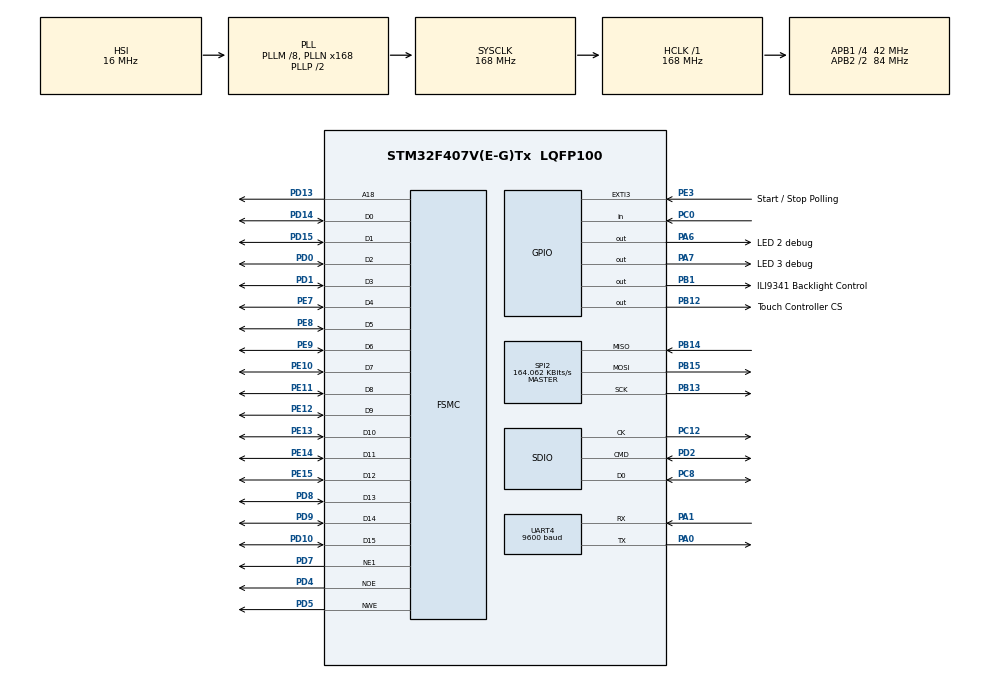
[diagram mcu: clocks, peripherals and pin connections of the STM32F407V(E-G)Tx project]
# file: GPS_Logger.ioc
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Dma.Request0=SDIO_TX
Dma.Request1=SDIO_RX
Dma.SDIO_RX.1.Direction=DMA_PERIPH_TO_MEMORY
Dma.SDIO_RX.1.FIFOMode=DMA_FIFOMODE_ENABLE
Dma.SDIO_RX.1.FIFOThreshold=DMA_FIFO_THRESHOLD_FULL
Dma.SDIO_RX.1.Instance=DMA2_Stream6
Dma.SDIO_RX.1.MemBurst=DMA_MBURST_INC4
Dma.SDIO_RX.1.MemDataAlignment=DMA_MDATAALIGN_WORD
Dma.SDIO_RX.1.MemInc=DMA_MINC_ENABLE
Dma.SDIO_RX.1.Mode=DMA_PFCTRL
Dma.SDIO_RX.1.PeriphBurst=DMA_PBURST_INC4
Dma.SDIO_RX.1.PeriphDataAlignment=DMA_PDATAALIGN_WORD
Dma.SDIO_RX.1.PeriphInc=DMA_PINC_DISABLE
Dma.SDIO_RX.1.Priority=DMA_PRIORITY_HIGH
Dma.SDIO_TX.0.Direction=DMA_MEMORY_TO_PERIPH
Dma.SDIO_TX.0.FIFOMode=DMA_FIFOMODE_ENABLE
Dma.SDIO_TX.0.FIFOThreshold=DMA_FIFO_THRESHOLD_FULL
Dma.SDIO_TX.0.Instance=DMA2_Stream3
Dma.SDIO_TX.0.MemBurst=DMA_MBURST_INC4
Dma.SDIO_TX.0.MemDataAlignment=DMA_MDATAALIGN_WORD
Dma.SDIO_TX.0.MemInc=DMA_MINC_ENABLE
Dma.SDIO_TX.0.Mode=DMA_PFCTRL
Dma.SDIO_TX.0.PeriphBurst=DMA_PBURST_INC4
Dma.SDIO_TX.0.PeriphDataAlignment=DMA_PDATAALIGN_WORD
Dma.SDIO_TX.0.PeriphInc=DMA_PINC_DISABLE
Dma.SDIO_TX.0.Priority=DMA_PRIORITY_HIGH
FATFS.BSP.number=1
FATFS.USE_DMA_CODE_SD=0
FATFS._MAX_SS=512
FATFS0.BSP.STBoard=false
FATFS0.BSP.api=Unknown
FATFS0.BSP.instance=PC0
FATFS0.BSP.ip=GPIO
FATFS0.BSP.mode=Input
FATFS0.BSP.name=Detect_SDIO
FATFS0.BSP.solution=PC0
Mcu.Family=STM32F4
Mcu.Name=STM32F407V(E-G)Tx
Mcu.Package=LQFP100
NVIC.DMA2_Stream3_IRQn=true\:0\:0\:false\:false\:true\:false\:true\:true
NVIC.DMA2_Stream6_IRQn=true\:0\:0\:false\:false\:true\:false\:true\:true
NVIC.EXTI3_IRQn=true\:0\:0\:true\:false\:true\:true\:true\:true
NVIC.PriorityGroup=NVIC_PRIORITYGROUP_4
NVIC.SDIO_IRQn=true\:0\:0\:false\:false\:true\:true\:true\:true
NVIC.SPI2_IRQn=true\:0\:0\:false\:false\:true\:true\:true\:true
NVIC.UART4_IRQn=true\:0\:0\:false\:false\:true\:true\:true\:true
PA0-WKUP.Mode=Asynchronous
PA0-WKUP.Signal=UART4_TX
PA1.Mode=Asynchronous
PA1.Signal=UART4_RX
PA6.GPIO_Label=LED 2 debug
PA6.Signal=GPIO_Output
PA7.GPIO_Label=LED 3 debug
PA7.Signal=GPIO_Output
PB1.GPIO_Label=ILI9341 Backlight Control
PB1.Signal=GPIO_Output
PB12.GPIO_Label=Touch Controller CS
PB12.GPIO_Speed=GPIO_SPEED_FREQ_VERY_HIGH
PB12.Signal=GPIO_Output
PB13.Mode=Full_Duplex_Master
PB13.Signal=SPI2_SCK
PB14.Mode=Full_Duplex_Master
PB14.Signal=SPI2_MISO
PB15.Mode=Full_Duplex_Master
PB15.Signal=SPI2_MOSI
PC0.GPIO_PuPd=GPIO_PULLDOWN
PC0.Signal=GPIO_Input
PC12.GPIO_PuPd=GPIO_NOPULL
PC12.Mode=SD_1_bit
PC12.Signal=SDIO_CK
PC8.GPIO_PuPd=GPIO_PULLUP
PC8.Mode=SD_1_bit
PC8.Signal=SDIO_D0
PD0.Mode=16b-d1
PD0.Signal=FSMC_D2
PD1.Mode=16b-d1
PD1.Signal=FSMC_D3
PD10.Mode=16b-d1
PD10.Signal=FSMC_D15
PD13.Mode=A18_1
PD13.Signal=FSMC_A18
PD14.Mode=16b-d1
PD14.Signal=FSMC_D0
PD15.Mode=16b-d1
PD15.Signal=FSMC_D1
PD2.GPIO_PuPd=GPIO_PULLUP
PD2.Mode=SD_1_bit
PD2.Signal=SDIO_CMD
PD4.Mode=Lcd1
PD4.Signal=FSMC_NOE
PD5.Mode=Lcd1
PD5.Signal=FSMC_NWE
PD7.Mode=NorPsramChipSelect1_1
PD7.Signal=FSMC_NE1
PD8.Mode=16b-d1
PD8.Signal=FSMC_D13
PD9.Mode=16b-d1
PD9.Signal=FSMC_D14
PE10.Mode=16b-d1
PE10.Signal=FSMC_D7
PE11.Mode=16b-d1
PE11.Signal=FSMC_D8
PE12.Mode=16b-d1
PE12.Signal=FSMC_D9
PE13.Mode=16b-d1
PE13.Signal=FSMC_D10
PE14.Mode=16b-d1
PE14.Signal=FSMC_D11
PE15.Mode=16b-d1
PE15.Signal=FSMC_D12
PE3.GPIO_Label=Start / Stop Polling
PE3.GPIO_ModeDefaultEXTI=GPIO_MODE_IT_FALLING
PE3.GPIO_PuPd=GPIO_PULLUP
PE3.Signal=GPXTI3
PE7.Mode=16b-d1
PE7.Signal=FSMC_D4
PE8.Mode=16b-d1
PE8.Signal=FSMC_D5
PE9.Mode=16b-d1
PE9.Signal=FSMC_D6
ProjectManager.HeapSize=0x400
ProjectManager.StackSize=0x400
ProjectManager.TargetToolchain=STM32CubeIDE
RCC.48MHZClocksFreq_Value=48000000
RCC.AHBFreq_Value=168000000
RCC.APB1CLKDivider=RCC_HCLK_DIV4
RCC.APB1Freq_Value=42000000
RCC.APB1TimFreq_Value=84000000
RCC.APB2CLKDivider=RCC_HCLK_DIV2
RCC.APB2Freq_Value=84000000
RCC.APB2TimFreq_Value=168000000
RCC.CortexFreq_Value=168000000
RCC.HCLKFreq_Value=168000000
RCC.HSE_VALUE=8000000
RCC.HSI_VALUE=16000000
RCC.LSE_VALUE=32768
RCC.PLLM=8
RCC.PLLN=168
RCC.PLLQ=7
RCC.SYSCLKFreq_VALUE=168000000
RCC.SYSCLKSource=RCC_SYSCLKSOURCE_PLLCLK
RCC.VCOOutputFreq_Value=336000000
SDIO.ClockDiv=22
SPI2.BaudRatePrescaler=SPI_BAUDRATEPRESCALER_256
SPI2.CalculateBaudRate=164.062 KBits/s
SPI2.Direction=SPI_DIRECTION_2LINES
SPI2.Mode=SPI_MODE_MASTER
SPI2.VirtualType=VM_MASTER
UART4.BaudRate=9600
UART4.VirtualMode=Asynchronous
VP_FATFS_VS_SDIO.Mode=SDIO
board=custom

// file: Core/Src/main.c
/* USER CODE BEGIN Header */
/**
  ******************************************************************************
  * @file           : main.c
  * @brief          : Main program body
  ******************************************************************************
  * @attention
  *
  * Copyright (c) 2022 STMicroelectronics.
  * All rights reserved.
  *
  * This software is licensed under terms that can be found in the LICENSE file
  * in the root directory of this software component.
  * If no LICENSE file comes with this software, it is provided AS-IS.
  *
  ******************************************************************************
  */
/* USER CODE END Header */
#include "main.h"
#include "fatfs.h"

/* USER CODE BEGIN Includes */
#include "NEO_6M.h"
#include "Logging.h"
/* USER CODE END Includes */

/* USER CODE BEGIN PTD */
typedef enum
{
	Wait,
	Work
} SystemStatus;
/* USER CODE END PTD */

SD_HandleTypeDef hsd;
DMA_HandleTypeDef hdma_sdio_tx;
DMA_HandleTypeDef hdma_sdio_rx;

SPI_HandleTypeDef hspi2;

UART_HandleTypeDef huart4;

SRAM_HandleTypeDef hsram1;

/* USER CODE BEGIN PV */
SystemStatus CurrentSystemStatus = Wait;

uint8_t ButtonIsPressed = 0;
/* USER CODE END PV */

void SystemClock_Config(void);
static void MX_GPIO_Init(void);
static void MX_DMA_Init(void);
static void MX_FSMC_Init(void);
static void MX_SPI2_Init(void);
static void MX_UART4_Init(void);
static void MX_SDIO_SD_Init(void);

/* USER CODE BEGIN 0 */

void HAL_GPIO_EXTI_Callback(uint16_t GPIO_Pin)
{
	if (GPIO_Pin == GPIO_PIN_3)
	{
		ButtonIsPressed = 1;
	}
}
/* USER CODE END 0 */

int main(void)
{

  /* MCU Configuration--------------------------------------------------------*/

  /* Reset of all peripherals, Initializes the Flash interface and the Systick. */
  HAL_Init();

  /* Configure the system clock */
  SystemClock_Config();

  /* Initialize all configured peripherals */
  MX_GPIO_Init();
  MX_DMA_Init();
  MX_FSMC_Init();
  MX_SPI2_Init();
  MX_UART4_Init();
  MX_SDIO_SD_Init();
  MX_FATFS_Init();
  /* USER CODE BEGIN 2 */

  // Отключение светодиодов D2 и D3 на плате
  GPIOA->ODR |= 1 << 6;
  GPIOA->ODR |= 1 << 7;

  DisplayOrientation Orint = Landscape;
  DisplayDriver_Init(Orint);
  Display_Backlight_On(GPIOB, GPIO_PIN_1);

  TouchDriver_Init(&hspi2, GPIOB, GPIO_PIN_12);

  Display_FillScreen(BLACK);

  //Display_Write_String(200, 100, "12345", BLACK, GREEN, 1);

  if (Logging_Init(SD_Card, "GPS.log") != Logging_OK)
  {
	  Display_Write_String(100, 40, "Log not init", BLACK, GREEN, 2);
	  GPS_Module_Init(&huart4, NULL);
  }

  else
  {
	  GPS_Module_Init(&huart4, Logging_WriteLog);
  }

  /*
    uint16_t X_val, Y_val

    X_val = TouchDriver_GetTouch_Axis(X);
    Y_val = TouchDriver_GetTouch_Axis(Y);
  */

  if (Orint == Portrait)
  {
	  //Display_DrawPixel(0, 0, RED);
	  Display_DrawFillPixel(5, 5, 5, RED);
	  Display_DrawPixel(239, 319, YELLOW);
  }

  else
  {
	  Display_DrawFillPixel(0, 5, 5, RED);
	  Display_DrawPixel(319, 239, YELLOW);
  }

  Display_DrawLine_Vertical(100, 150, 100, RED);
  Display_DrawLine_Horizontal(100, 150, 100, GREEN);

  Display_Write_String(50, 80, "ver. 0.6.2", BLACK, GREEN, 2);

  Display_Write_String(50, 120, "GPS Wait", BLACK, GREEN, 2);

  /* USER CODE END 2 */

  /* Infinite loop */
  while (1)
  {

    /* USER CODE BEGIN 3 */
	  if (ButtonIsPressed > 0)
	  {
		  if (CurrentSystemStatus == Wait)
		  {
			  CurrentSystemStatus = Work;
			  GPIOA->ODR &= ~(1 << 6);
		  }

		  else
		  {
			  CurrentSystemStatus = Wait;
			  GPIOA->ODR |= 1 << 6;
		  }

		  switch (CurrentSystemStatus)
		  {
		  case Wait:
			  GPS_Module_StopReceive();
			  Display_Write_String(50, 120, "GPS Wait", BLACK, GREEN, 2);
			  break;

		  case Work:
			  Display_Write_String(50, 120, "GPS Work", BLACK, GREEN, 2);
			  GPS_Module_StartReceive();
			  break;
		  }

		  // Для защиты от дребезга контактов и многократного нажатия.
		  HAL_Delay(100);

		  ButtonIsPressed = 0;
	  }
  }
  /* USER CODE END 3 */
}

void SystemClock_Config(void)
{
  RCC_OscInitTypeDef RCC_OscInitStruct = {0};
  RCC_ClkInitTypeDef RCC_ClkInitStruct = {0};

  /** Configure the main internal regulator output voltage
  */
  __HAL_RCC_PWR_CLK_ENABLE();
  __HAL_PWR_VOLTAGESCALING_CONFIG(PWR_REGULATOR_VOLTAGE_SCALE1);

  /** Initializes the RCC Oscillators according to the specified parameters
  * in the RCC_OscInitTypeDef structure.
  */
  RCC_OscInitStruct.OscillatorType = RCC_OSCILLATORTYPE_HSI;
  RCC_OscInitStruct.HSIState = RCC_HSI_ON;
  RCC_OscInitStruct.HSICalibrationValue = RCC_HSICALIBRATION_DEFAULT;
  RCC_OscInitStruct.PLL.PLLState = RCC_PLL_ON;
  RCC_OscInitStruct.PLL.PLLSource = RCC_PLLSOURCE_HSI;
  RCC_OscInitStruct.PLL.PLLM = 8;
  RCC_OscInitStruct.PLL.PLLN = 168;
  RCC_OscInitStruct.PLL.PLLP = RCC_PLLP_DIV2;
  RCC_OscInitStruct.PLL.PLLQ = 7;
  if (HAL_RCC_OscConfig(&RCC_OscInitStruct) != HAL_OK)
  {
    Error_Handler();
  }

  /** Initializes the CPU, AHB and APB buses clocks
  */
  RCC_ClkInitStruct.ClockType = RCC_CLOCKTYPE_HCLK|RCC_CLOCKTYPE_SYSCLK
                              |RCC_CLOCKTYPE_PCLK1|RCC_CLOCKTYPE_PCLK2;
  RCC_ClkInitStruct.SYSCLKSource = RCC_SYSCLKSOURCE_PLLCLK;
  RCC_ClkInitStruct.AHBCLKDivider = RCC_SYSCLK_DIV1;
  RCC_ClkInitStruct.APB1CLKDivider = RCC_HCLK_DIV4;
  RCC_ClkInitStruct.APB2CLKDivider = RCC_HCLK_DIV2;

  if (HAL_RCC_ClockConfig(&RCC_ClkInitStruct, FLASH_LATENCY_5) != HAL_OK)
  {
    Error_Handler();
  }
}

static void MX_SDIO_SD_Init(void)
{

  hsd.Instance = SDIO;
  hsd.Init.ClockEdge = SDIO_CLOCK_EDGE_RISING;
  hsd.Init.ClockBypass = SDIO_CLOCK_BYPASS_DISABLE;
  hsd.Init.ClockPowerSave = SDIO_CLOCK_POWER_SAVE_DISABLE;
  hsd.Init.BusWide = SDIO_BUS_WIDE_1B;
  hsd.Init.HardwareFlowControl = SDIO_HARDWARE_FLOW_CONTROL_DISABLE;
  hsd.Init.ClockDiv = 22;

}

static void MX_SPI2_Init(void)
{

  /* SPI2 parameter configuration*/
  hspi2.Instance = SPI2;
  hspi2.Init.Mode = SPI_MODE_MASTER;
  hspi2.Init.Direction = SPI_DIRECTION_2LINES;
  hspi2.Init.DataSize = SPI_DATASIZE_8BIT;
  hspi2.Init.CLKPolarity = SPI_POLARITY_LOW;
  hspi2.Init.CLKPhase = SPI_PHASE_1EDGE;
  hspi2.Init.NSS = SPI_NSS_SOFT;
  hspi2.Init.BaudRatePrescaler = SPI_BAUDRATEPRESCALER_256;
  hspi2.Init.FirstBit = SPI_FIRSTBIT_MSB;
  hspi2.Init.TIMode = SPI_TIMODE_DISABLE;
  hspi2.Init.CRCCalculation = SPI_CRCCALCULATION_DISABLE;
  hspi2.Init.CRCPolynomial = 10;
  if (HAL_SPI_Init(&hspi2) != HAL_OK)
  {
    Error_Handler();
  }

}

static void MX_UART4_Init(void)
{

  huart4.Instance = UART4;
  huart4.Init.BaudRate = 9600;
  huart4.Init.WordLength = UART_WORDLENGTH_8B;
  huart4.Init.StopBits = UART_STOPBITS_1;
  huart4.Init.Parity = UART_PARITY_NONE;
  huart4.Init.Mode = UART_MODE_TX_RX;
  huart4.Init.HwFlowCtl = UART_HWCONTROL_NONE;
  huart4.Init.OverSampling = UART_OVERSAMPLING_16;
  if (HAL_UART_Init(&huart4) != HAL_OK)
  {
    Error_Handler();
  }

}

static void MX_DMA_Init(void)
{

  /* DMA controller clock enable */
  __HAL_RCC_DMA2_CLK_ENABLE();

  /* DMA interrupt init */
  /* DMA2_Stream3_IRQn interrupt configuration */
  HAL_NVIC_SetPriority(DMA2_Stream3_IRQn, 0, 0);
  HAL_NVIC_EnableIRQ(DMA2_Stream3_IRQn);
  /* DMA2_Stream6_IRQn interrupt configuration */
  HAL_NVIC_SetPriority(DMA2_Stream6_IRQn, 0, 0);
  HAL_NVIC_EnableIRQ(DMA2_Stream6_IRQn);

}

static void MX_GPIO_Init(void)
{
  GPIO_InitTypeDef GPIO_InitStruct = {0};

  /* GPIO Ports Clock Enable */
  __HAL_RCC_GPIOE_CLK_ENABLE();
  __HAL_RCC_GPIOC_CLK_ENABLE();
  __HAL_RCC_GPIOA_CLK_ENABLE();
  __HAL_RCC_GPIOB_CLK_ENABLE();
  __HAL_RCC_GPIOD_CLK_ENABLE();

  /*Configure GPIO pin Output Level */
  HAL_GPIO_WritePin(GPIOA, LED_2_debug_Pin|LED_3_debug_Pin, GPIO_PIN_RESET);

  /*Configure GPIO pin Output Level */
  HAL_GPIO_WritePin(GPIOB, ILI9341_Backlight_Control_Pin|Touch_Controller_CS_Pin, GPIO_PIN_RESET);

  /*Configure GPIO pin : Start___Stop_Polling_Pin */
  GPIO_InitStruct.Pin = Start___Stop_Polling_Pin;
  GPIO_InitStruct.Mode = GPIO_MODE_IT_FALLING;
  GPIO_InitStruct.Pull = GPIO_PULLUP;
  HAL_GPIO_Init(Start___Stop_Polling_GPIO_Port, &GPIO_InitStruct);

  /*Configure GPIO pin : PC0 */
  GPIO_InitStruct.Pin = GPIO_PIN_0;
  GPIO_InitStruct.Mode = GPIO_MODE_INPUT;
  GPIO_InitStruct.Pull = GPIO_PULLDOWN;
  HAL_GPIO_Init(GPIOC, &GPIO_InitStruct);

  /*Configure GPIO pins : LED_2_debug_Pin LED_3_debug_Pin */
  GPIO_InitStruct.Pin = LED_2_debug_Pin|LED_3_debug_Pin;
  GPIO_InitStruct.Mode = GPIO_MODE_OUTPUT_PP;
  GPIO_InitStruct.Pull = GPIO_NOPULL;
  GPIO_InitStruct.Speed = GPIO_SPEED_FREQ_LOW;
  HAL_GPIO_Init(GPIOA, &GPIO_InitStruct);

  /*Configure GPIO pin : ILI9341_Backlight_Control_Pin */
  GPIO_InitStruct.Pin = ILI9341_Backlight_Control_Pin;
  GPIO_InitStruct.Mode = GPIO_MODE_OUTPUT_PP;
  GPIO_InitStruct.Pull = GPIO_NOPULL;
  GPIO_InitStruct.Speed = GPIO_SPEED_FREQ_LOW;
  HAL_GPIO_Init(ILI9341_Backlight_Control_GPIO_Port, &GPIO_InitStruct);

  /*Configure GPIO pin : Touch_Controller_CS_Pin */
  GPIO_InitStruct.Pin = Touch_Controller_CS_Pin;
  GPIO_InitStruct.Mode = GPIO_MODE_OUTPUT_PP;
  GPIO_InitStruct.Pull = GPIO_NOPULL;
  GPIO_InitStruct.Speed = GPIO_SPEED_FREQ_VERY_HIGH;
  HAL_GPIO_Init(Touch_Controller_CS_GPIO_Port, &GPIO_InitStruct);

  /* EXTI interrupt init*/
  HAL_NVIC_SetPriority(EXTI3_IRQn, 0, 0);
  HAL_NVIC_EnableIRQ(EXTI3_IRQn);

}

/* FSMC initialization function */
static void MX_FSMC_Init(void)
{

  FSMC_NORSRAM_TimingTypeDef Timing = {0};

  /** Perform the SRAM1 memory initialization sequence
  */
  hsram1.Instance = FSMC_NORSRAM_DEVICE;
  hsram1.Extended = FSMC_NORSRAM_EXTENDED_DEVICE;
  /* hsram1.Init */
  hsram1.Init.NSBank = FSMC_NORSRAM_BANK1;
  hsram1.Init.DataAddressMux = FSMC_DATA_ADDRESS_MUX_DISABLE;
  hsram1.Init.MemoryType = FSMC_MEMORY_TYPE_SRAM;
  hsram1.Init.MemoryDataWidth = FSMC_NORSRAM_MEM_BUS_WIDTH_16;
  hsram1.Init.BurstAccessMode = FSMC_BURST_ACCESS_MODE_DISABLE;
  hsram1.Init.WaitSignalPolarity = FSMC_WAIT_SIGNAL_POLARITY_LOW;
  hsram1.Init.WrapMode = FSMC_WRAP_MODE_DISABLE;
  hsram1.Init.WaitSignalActive = FSMC_WAIT_TIMING_BEFORE_WS;
  hsram1.Init.WriteOperation = FSMC_WRITE_OPERATION_ENABLE;
  hsram1.Init.WaitSignal = FSMC_WAIT_SIGNAL_DISABLE;
  hsram1.Init.ExtendedMode = FSMC_EXTENDED_MODE_DISABLE;
  hsram1.Init.AsynchronousWait = FSMC_ASYNCHRONOUS_WAIT_DISABLE;
  hsram1.Init.WriteBurst = FSMC_WRITE_BURST_DISABLE;
  hsram1.Init.PageSize = FSMC_PAGE_SIZE_NONE;
  /* Timing */
  Timing.AddressSetupTime = 15;
  Timing.AddressHoldTime = 15;
  Timing.DataSetupTime = 255;
  Timing.BusTurnAroundDuration = 15;
  Timing.CLKDivision = 16;
  Timing.DataLatency = 17;
  Timing.AccessMode = FSMC_ACCESS_MODE_A;
  /* ExtTiming */

  if (HAL_SRAM_Init(&hsram1, &Timing, NULL) != HAL_OK)
  {
    Error_Handler( );
  }

}

void Error_Handler(void)
{
  __disable_irq();
  while (1)
  {
  }
}
